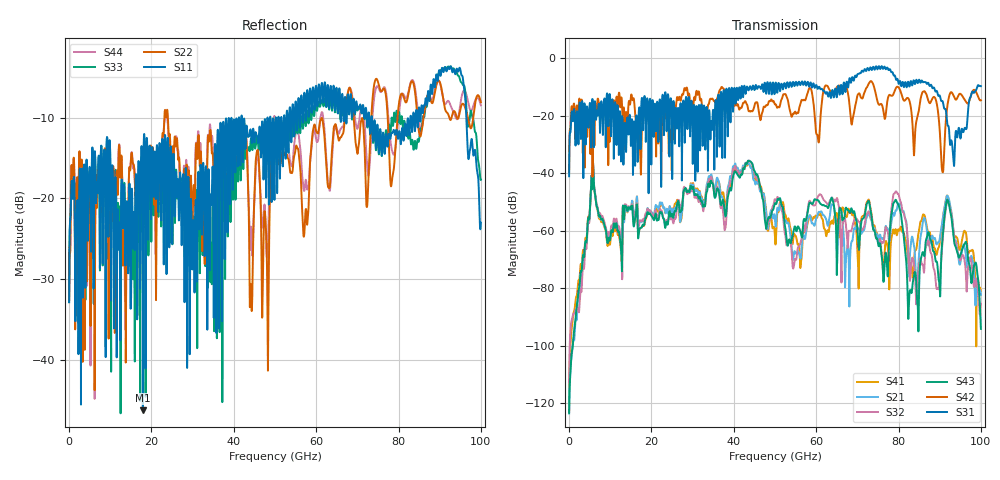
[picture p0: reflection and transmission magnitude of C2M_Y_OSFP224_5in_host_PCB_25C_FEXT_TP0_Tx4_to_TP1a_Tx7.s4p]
# GHz S RI R 45
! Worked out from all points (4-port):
!   4000 points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, 25 MHz to 100 GHz, reference 45 ohm
!   strongest paths, dB at 25 MHz, 25.02 GHz, 50.02 GHz, 75.03 GHz, 100 GHz:
!     S31: -41.0, -29.9, -10.0, -3.3, -9.7
!     S42: -39.6, -29.2, -16.0, -15.6, -14.6
!     S43: -123.4, -54.1, -50.4, -64.4, -94.1
!     S32: -112.7, -54.9, -49.0, -64.1, -85.3
!     S21: -122.9, -52.2, -56.4, -62.3, -82.2
!     S41: -123.0, -52.1, -62.8, -62.7, -80.9
!   lowest |S11| = -46.2 dB at 17.93 GHz (marker M1), VSWR 1.01, Z = 44.6 - j0.15 ohm
!   |S11| at or under -10 dB: start of sweep to 41.26 GHz; 41.97 GHz to 48.19 GHz (6.221 GHz wide, 13.8 % of centre); 73.53 GHz to 82.87 GHz (9.341 GHz wide, 11.9 % of centre)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
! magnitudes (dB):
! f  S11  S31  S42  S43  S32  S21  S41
! 25 MHz  -32.8  -41.0  -39.6  -123.4  -112.7  -122.9  -123.0
! 5.75 GHz  -14.5  -14.7  -31.8  -38.7  -38.9  -39.0  -38.7
! 17.93 GHz  -46.2  -20.2  -19.5  -57.8  -55.9  -56.3  -58.0
! 43.85 GHz  -12.0  -10.0  -18.3  -35.8  -35.7  -37.0  -37.3
! 54.65 GHz  -12.2  -9.3  -19.2  -59.1  -71.8  -67.4  -61.1
! 91.92 GHz  -3.9  -23.3  -15.9  -49.3  -49.9  -47.8  -47.9
! 100 GHz  -23.0  -9.7  -14.6  -94.1  -85.3  -82.2  -80.9
